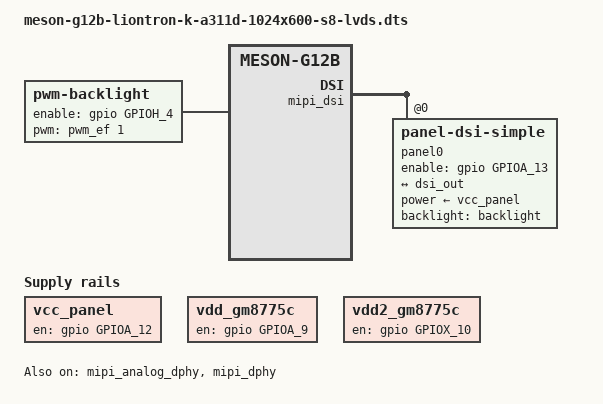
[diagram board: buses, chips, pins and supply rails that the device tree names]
// SPDX-License-Identifier: (GPL-2.0+ OR MIT)
/*
 * Copyright (c) 2019 BayLibre, SAS
 * Author: Neil Armstrong <narmstrong@baylibre.com>
 * Copyright (c) 2019 Christian Hewitt <christianshewitt@gmail.com>
 * Copyright (c) 2025 retro98boy <retro98boy@qq.com>
 */

/dts-v1/;

#include "meson-g12b-liontron-k-a311d.dts"
#include <dt-bindings/display/drm_mipi_dsi.h>

/ {
	backlight: backlight {
		compatible = "pwm-backlight";
		enable-gpios = <&gpio GPIOH_4 GPIO_ACTIVE_HIGH>; /* EN in J20 connector */
		pwms = <&pwm_ef 1 1000 0>; /* ADJ in J20 connector, GPIOH_5 */
		brightness-levels = <
			  0   1   2   3   4   5   6   7
			  8   9  10  11  12  13  14  15
			 16  17  18  19  20  21  22  23
			 24  25  26  27  28  29  30  31
			 32  33  34  35  36  37  38  39
			 40  41  42  43  44  45  46  47
			 48  49  50  51  52  53  54  55
			 56  57  58  59  60  61  62  63
			 64  65  66  67  68  69  70  71
			 72  73  74  75  76  77  78  79
			 80  81  82  83  84  85  86  87
			 88  89  90  91  92  93  94  95
			 96  97  98  99 100 101 102 103
			104 105 106 107 108 109 110 111
			112 113 114 115 116 117 118 119
			120 121 122 123 124 125 126 127
			128 129 130 131 132 133 134 135
			136 137 138 139 140 141 142 143
			144 145 146 147 148 149 150 151
			152 153 154 155 156 157 158 159
			160 161 162 163 164 165 166 167
			168 169 170 171 172 173 174 175
			176 177 178 179 180 181 182 183
			184 185 186 187 188 189 190 191
			192 193 194 195 196 197 198 199
			200 201 202 203 204 205 206 207
			208 209 210 211 212 213 214 215
			216 217 218 219 220 221 222 223
			224 225 226 227 228 229 230 231
			232 233 234 235 236 237 238 239
			240 241 242 243 244 245 246 247
			248 249 250 251 252 253 254 255>;
		default-brightness-level = <200>;
	};

	vcc_panel: regulator-vcc-panel {
		compatible = "regulator-fixed";
		enable-active-high;
		gpio = <&gpio GPIOA_12 GPIO_ACTIVE_HIGH>;
		regulator-name = "vcc_panel";
	};

	vdd_gm8775c: regulator-vdd-gm8775c { /* GM8775C VDD_LVDS&VDD_PLL */
		compatible = "regulator-fixed";
		enable-active-high;
		gpio = <&gpio GPIOA_9 GPIO_ACTIVE_HIGH>;
		regulator-name = "vdd_gm8775c";
		regulator-always-on;
		regulator-boot-on;
	};

	vdd2_gm8775c: regulator-vdd2-gm8775c { /* GM8775C VDD_IO&VDDRX */
		compatible = "regulator-fixed";
		enable-active-high;
		gpio = <&gpio GPIOX_10 GPIO_ACTIVE_HIGH>;
		regulator-name = "vdd2_gm8775c";
		regulator-always-on;
		regulator-boot-on;
	};
};

&pwm_ef {
	pinctrl-0 = <&pwm_e_pins &pwm_f_h_pins>;
};

&mipi_analog_dphy {
	status = "okay";
};

&mipi_dphy {
	status = "okay";
};

&mipi_dsi_panel_port {
	dsi_out: endpoint {
		remote-endpoint = <&gm8775c_in>;
	};
};

&mipi_dsi {
	status = "okay";

	assigned-clocks = <&clkc CLKID_GP0_PLL>,
			  <&clkc CLKID_MIPI_DSI_PXCLK_SEL>,
			  <&clkc CLKID_MIPI_DSI_PXCLK>,
			  <&clkc CLKID_CTS_ENCL_SEL>,
			  <&clkc CLKID_VCLK2_SEL>;
	assigned-clock-parents = <0>,
				 <&clkc CLKID_GP0_PLL>,
				 <0>,
				 <&clkc CLKID_VCLK2_DIV1>,
				 <&clkc CLKID_GP0_PLL>;
	assigned-clock-rates = <468000000>,
			       <0>,
			       <468000000>,
			       <0>,
			       <0>;

	/* 1024x600 single 8bit lvds panel */
	panel0: panel@0 {
		status = "okay";
		compatible = "panel-dsi-simple";
		reg = <0>;

		power-supply = <&vcc_panel>;
		enable-gpios = <&gpio GPIOA_13 GPIO_ACTIVE_HIGH>; /* GM8775C EN */
		backlight = <&backlight>;
		reset-delay-ms = <200>;
		enable-delay-ms = <100>;
		prepare-delay-ms = <20>;
		unprepare-delay-ms = <20>;
		disable-delay-ms = <20>;
		init-delay-ms = <120>;

		dsi,flags = <(MIPI_DSI_MODE_VIDEO | MIPI_DSI_MODE_VIDEO_BURST |
				MIPI_DSI_MODE_LPM | MIPI_DSI_MODE_NO_EOT_PACKET)>;
		dsi,format = <MIPI_DSI_FMT_RGB888>;
		dsi,lanes  = <4>;
		width-mm = <65>;
		height-mm = <10>;
		rotation = <0>;

		panel-init-sequence = [
			23 00 02 27 AA
			23 00 02 01 00
			23 00 02 02 58
			23 00 02 03 24
			23 00 02 04 9C
			23 00 02 05 9C
			23 00 02 06 08
			23 00 02 07 00
			23 00 02 08 10
			23 00 02 09 10
			23 00 02 0A 06
			23 00 02 0B 82
			23 00 02 0C 0E
			23 00 02 0D 01
			23 00 02 0E 80
			23 00 02 0F 20
			23 00 02 10 20
			23 00 02 11 03
			23 00 02 12 1B
			23 00 02 13 03
			23 00 02 14 01
			23 00 02 15 23
			23 00 02 16 40
			23 00 02 17 00
			23 00 02 18 01
			23 00 02 19 23
			23 00 02 1A 40
			23 00 02 1B 00
			23 00 02 1E 46
			23 00 02 51 30
			23 00 02 1F 10
			23 00 02 2A 3D
		];

		panel-exit-sequence = [
		];

		disp_timings: display-timings {
			native-mode = <&dsi_timing0>;
			dsi_timing0: timing0 {
				clock-frequency = <51450000>; /* h_total * v_total * fps = (1024 + 156 + 8 + 156) * (600 + 16 + 6 + 16) * 60 = 51448320 pixel/s */

				hactive = <1024>;
				hfront-porch = <156>;
				hback-porch = <8>;
				hsync-len = <156>;

				vactive = <600>;
				vfront-porch = <16>;
				vback-porch = <6>;
				vsync-len = <16>;

				hsync-active = <0>;
				vsync-active = <0>;
				de-active = <0>;
				pixelclk-active = <0>;

				swap-rb = <0>;
				swap-rg = <0>;
				swap-gb = <0>;
			};
		};

		ports {
			#address-cells = <1>;
			#size-cells = <0>;

			port@0 {
				reg = <0>;
				gm8775c_in: endpoint {
					remote-endpoint = <&dsi_out>;
				};
			};
		};
	};
};
